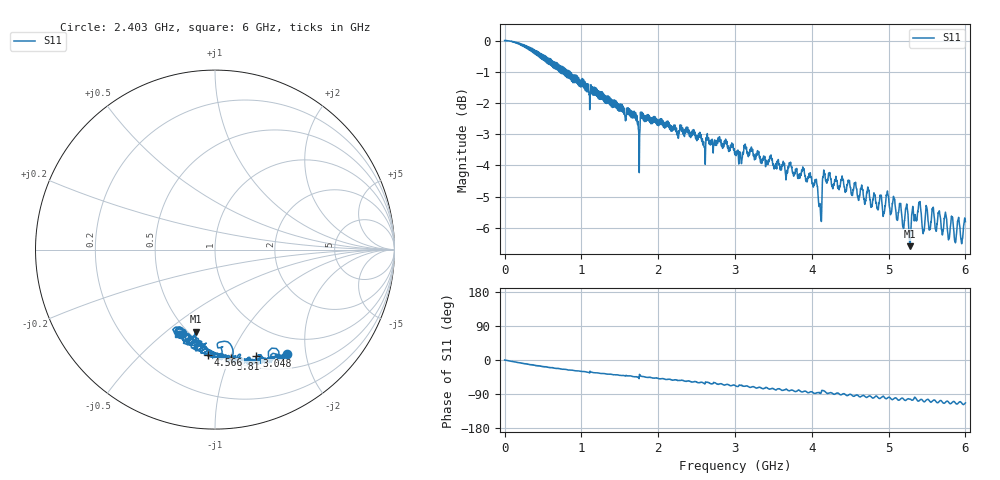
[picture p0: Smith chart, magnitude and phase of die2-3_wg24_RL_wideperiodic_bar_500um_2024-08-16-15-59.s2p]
!Keysight Technologies,P9374A,MY57304198,A.17.20.09
!Date: Friday, August 16, 2024 15:59:44
!Correction: S11(C  1-Port  )
!S21(C  1-Port  )
!S12(Off)
!S22(Off)
!S2P File: Measurements: S11, S21, S12, S22:
# Hz S  dB  R 50
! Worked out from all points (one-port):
!   6000 points, 300 kHz to 6 GHz, reference 50 ohm
!   lowest |S11| = -6.6 dB at 5.278 GHz (marker M1), VSWR 2.76, Z = 27.2 - j31.8 ohm
!   |S11| at or under -10 dB: nowhere
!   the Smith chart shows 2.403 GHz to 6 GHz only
!   S11 on the Smith chart (normalised r, x): 2.403 GHz: 0.72, -1.67; 3.048 GHz: 0.63, -1.26; 3.81 GHz: 0.52, -1.01; 4.566 GHz: 0.46, -0.83; 6 GHz: 0.44, -0.57
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300000  -0.00 -0.0  -200.00 45.0  -200.00 45.0  -200.00 45.0
4.913573e8  -0.45 -16.7  -200.00 45.0  -200.00 45.0  -200.00 45.0
1.000417e9  -1.46 -30.0  -200.00 45.0  -200.00 45.0  -200.00 45.0
1.725501e9  -2.60 -44.6  -200.00 45.0  -200.00 45.0  -200.00 45.0
1.788509e9  -2.44 -43.3  -200.00 45.0  -200.00 45.0  -200.00 45.0
2.000533e9  -2.71 -48.5  -200.00 45.0  -200.00 45.0  -200.00 45.0
2.40258e9  -3.02 -55.2  -200.00 45.0  -200.00 45.0  -200.00 45.0
3.00065e9  -3.65 -67.1  -200.00 45.0  -200.00 45.0  -200.00 45.0
3.047656e9  -3.90 -68.8  -200.00 45.0  -200.00 45.0  -200.00 45.0
3.809744e9  -4.26 -81.8  -200.00 45.0  -200.00 45.0  -200.00 45.0
4.000767e9  -4.52 -83.8  -200.00 45.0  -200.00 45.0  -200.00 45.0
4.105779e9  -5.22 -87.9  -200.00 45.0  -200.00 45.0  -200.00 45.0
4.154785e9  -4.16 -80.9  -200.00 45.0  -200.00 45.0  -200.00 45.0
4.208791e9  -4.46 -88.1  -200.00 45.0  -200.00 45.0  -200.00 45.0
4.565833e9  -4.58 -93.7  -200.00 45.0  -200.00 45.0  -200.00 45.0
5.000883e9  -5.03 -98.7  -200.00 45.0  -200.00 45.0  -200.00 45.0
5.133899e9  -5.44 -106.1  -200.00 45.0  -200.00 45.0  -200.00 45.0
5.277916e9  -6.58 -103.2  -200.00 45.0  -200.00 45.0  -200.00 45.0
5.346924e9  -5.58 -99.2  -200.00 45.0  -200.00 45.0  -200.00 45.0
5.40093e9  -5.19 -107.1  -200.00 45.0  -200.00 45.0  -200.00 45.0
5.452936e9  -6.14 -109.0  -200.00 45.0  -200.00 45.0  -200.00 45.0
6e9  -5.80 -113.2  -200.00 45.0  -200.00 45.0  -200.00 45.0
